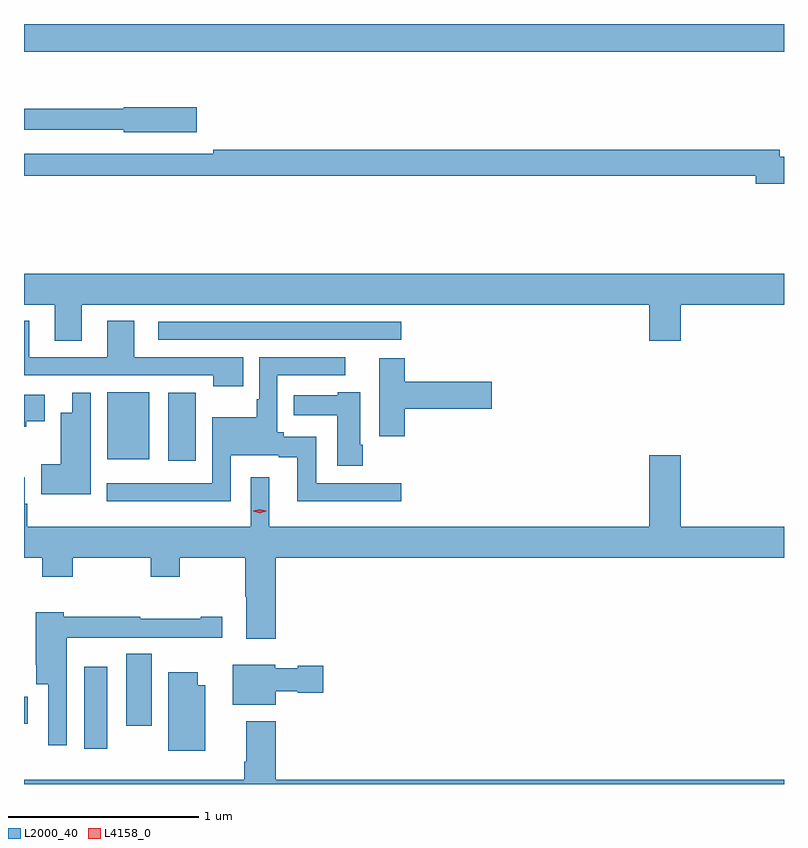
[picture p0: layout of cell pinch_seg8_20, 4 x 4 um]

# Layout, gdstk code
import gdstk
lib = gdstk.Library(unit=1e-6, precision=1e-09)
def R(c, l, rs):  # rectangles x0, y0, x1, y1
    for r in rs: c.add(gdstk.rectangle(r[:2], r[2:], *l))
def P(c, l, *ps):  # polygons
    for p in ps: c.add(gdstk.Polygon(p, *l))
L2000_40 = (2000, 40)
L4158_0 = (4158, 0)

pinch_seg8_20 = lib.new_cell('pinch_seg8_20')
R(pinch_seg8_20, L2000_40, [(1025.168,1147.464,1025.29,1147.894), (1025.39,1147.584,1025.524,1147.964), (1024.852,1147.594,1024.873,1147.736), (1025.612,1148.979,1025.755,1149.337), (1025.291,1148.987,1025.512,1149.34), (1025.559,1149.615,1026.838,1149.711), (1024.852,1151.132,1028.852,1151.278)])
P(pinch_seg8_20, L2000_40, [(1025.761,1150.839),(1025.376,1150.839),(1025.376,1150.831),(1024.852,1150.831),(1024.852,1150.722),(1025.376,1150.722),(1025.376,1150.709),(1025.761,1150.709)],
  [(1028.852,1150.58),(1028.83,1150.58),(1028.83,1150.616),(1025.848,1150.616),(1025.848,1150.596),(1024.852,1150.596),(1024.852,1150.48),(1028.702,1150.48),(1028.702,1150.438),(1028.852,1150.438)],
  [(1025.155,1149.8),(1028.144,1149.8),(1028.144,1149.612),(1028.308,1149.612),(1028.308,1149.8),(1028.852,1149.8),(1028.852,1149.964),(1024.852,1149.964),(1024.852,1149.8),(1025.015,1149.8),(1025.015,1149.61),(1025.155,1149.61)],
  [(1026.005,1149.525),(1025.431,1149.525),(1025.431,1149.715),(1025.291,1149.715),(1025.291,1149.525),(1024.879,1149.525),(1024.879,1149.715),(1024.852,1149.715),(1024.852,1149.429),(1025.849,1149.429),(1025.849,1149.372),(1026.005,1149.372)],
  [(1025.94,1149.009),(1026.194,1149.009),(1026.194,1148.997),(1026.29,1148.997),(1026.29,1148.765),(1026.838,1148.765),(1026.838,1148.862),(1026.391,1148.862),(1026.391,1149.105),(1026.219,1149.105),(1026.219,1149.13),(1026.186,1149.13),(1026.186,1149.429),(1026.544,1149.429),(1026.544,1149.525),(1026.09,1149.525),(1026.09,1149.304),(1026.078,1149.304),(1026.078,1149.208),(1025.844,1149.208),(1025.844,1148.862),(1025.288,1148.862),(1025.288,1148.765),(1025.94,1148.765)],
  [(1026.857,1149.254),(1027.315,1149.254),(1027.315,1149.396),(1026.857,1149.396),(1026.857,1149.52),(1026.722,1149.52),(1026.722,1149.108),(1026.857,1149.108)],
  [(1026.635,1149.064),(1026.622,1149.064),(1026.622,1149.34),(1026.504,1149.34),(1026.504,1149.325),(1026.273,1149.325),(1026.273,1149.218),(1026.5,1149.218),(1026.5,1148.952),(1026.635,1148.952)],
  [(1025.203,1149.337),(1025.105,1149.337),(1025.105,1149.232),(1025.045,1149.232),(1025.045,1148.962),(1024.942,1148.962),(1024.942,1148.804),(1025.203,1148.804)],
  [(1024.864,1149.188),(1024.96,1149.188),(1024.96,1149.328),(1024.852,1149.328),(1024.852,1149.159),(1024.864,1149.159)],
  [(1026.176,1148.468),(1028.852,1148.468),(1028.852,1148.632),(1028.308,1148.632),(1028.308,1149.007),(1028.144,1149.007),(1028.144,1148.632),(1026.142,1148.632),(1026.142,1148.893),(1026.045,1148.893),(1026.045,1148.632),(1024.87,1148.632),(1024.87,1148.754),(1024.857,1148.754),(1024.857,1148.893),(1024.852,1148.893),(1024.852,1148.468),(1024.949,1148.468),(1024.949,1148.369),(1025.109,1148.369),(1025.109,1148.468),(1025.518,1148.468),(1025.518,1148.369),(1025.673,1148.369),(1025.673,1148.468),(1026.016,1148.468),(1026.016,1148.264),(1026.023,1148.264),(1026.023,1148.043),(1026.176,1148.043)],
  [(1025.076,1148.048),(1025.286,1148.048),(1025.286,1148.049),(1025.62,1148.049),(1025.62,1148.048),(1025.896,1148.048),(1025.896,1148.158),(1025.783,1148.158),(1025.783,1148.148),(1025.463,1148.148),(1025.463,1148.158),(1025.06,1148.158),(1025.06,1148.182),(1024.913,1148.182),(1024.913,1147.906),(1024.916,1147.906),(1024.916,1147.804),(1024.98,1147.804),(1024.98,1147.482),(1025.076,1147.482)],
  [(1026.178,1147.766),(1026.294,1147.766),(1026.294,1147.759),(1026.427,1147.759),(1026.427,1147.901),(1026.294,1147.901),(1026.294,1147.888),(1026.174,1147.888),(1026.174,1147.906),(1025.951,1147.906),(1025.951,1147.694),(1026.178,1147.694)],
  [(1025.806,1147.798),(1025.767,1147.798),(1025.767,1147.867),(1025.612,1147.867),(1025.612,1147.454),(1025.806,1147.454)],
  [(1026.176,1147.609),(1026.023,1147.609),(1026.023,1147.396),(1026.011,1147.396),(1026.011,1147.3),(1024.852,1147.3),(1024.852,1147.278),(1028.852,1147.278),(1028.852,1147.3),(1026.176,1147.3)])
P(pinch_seg8_20, L4158_0, [(1026.093,1148.704),(1026.059,1148.714),(1026.058,1148.714),(1026.059,1148.715),(1026.093,1148.724),(1026.128,1148.715),(1026.128,1148.714),(1026.128,1148.714)])

lib.write_gds('pinch_seg8_20.gds')
